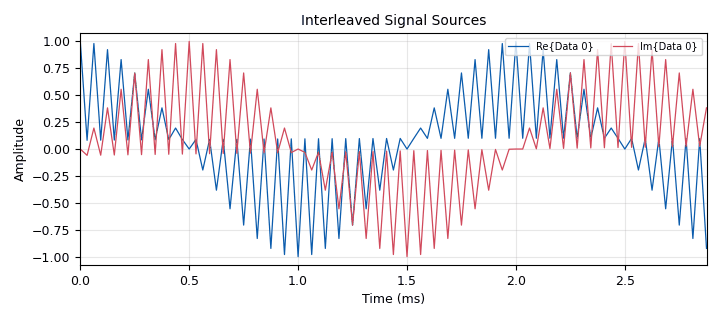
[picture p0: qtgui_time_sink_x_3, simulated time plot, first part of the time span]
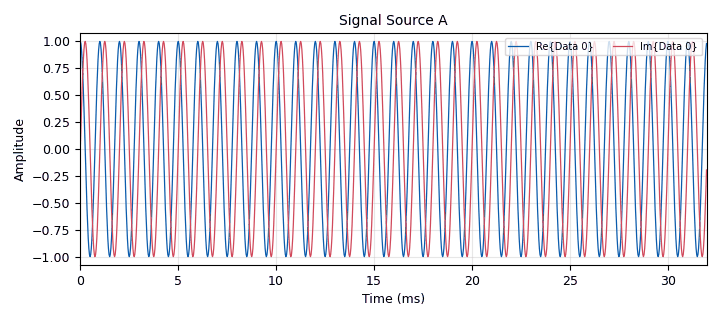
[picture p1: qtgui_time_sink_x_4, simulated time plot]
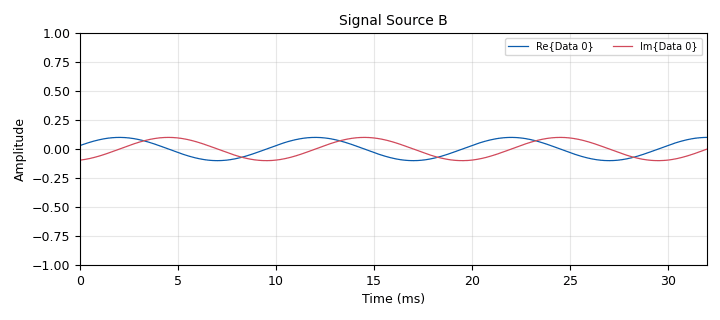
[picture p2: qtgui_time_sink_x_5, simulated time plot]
options:
  parameters:
    generate_options: qt_gui
    id: SimpleStream
    output_language: python
    title: Stream
  states: {}

blocks:
- name: samp_rate
  id: variable
  parameters:
    value: '32000'
  states: {}
- name: analog_random_source_x_0
  id: analog_random_source_x
  parameters:
    max: '2'
    min: '0'
    num_samps: '1000'
    repeat: 'True'
    type: byte
  states: {state: disabled}
- name: analog_sig_source_x_0
  id: analog_sig_source_x
  parameters:
    amp: '1'
    freq: '1000'
    offset: '0'
    phase: '0'
    samp_rate: samp_rate
    type: complex
    waveform: analog.GR_COS_WAVE
  states: {}
- name: analog_sig_source_x_0_0
  id: analog_sig_source_x
  parameters:
    amp: '0.1'
    freq: '100'
    offset: '0'
    phase: '0'
    samp_rate: samp_rate
    type: complex
    waveform: analog.GR_COS_WAVE
  states: {}
- name: analog_sig_source_x_1
  id: analog_sig_source_x
  parameters:
    amp: '1'
    freq: '1000'
    offset: '0'
    phase: '0'
    samp_rate: samp_rate
    type: float
    waveform: analog.GR_COS_WAVE
  states: {state: disabled}
- name: analog_sig_source_x_1_0
  id: analog_sig_source_x
  parameters:
    amp: '1'
    freq: '1000'
    offset: '0'
    phase: '0'
    samp_rate: samp_rate
    type: byte
    waveform: analog.GR_COS_WAVE
  states: {state: disabled}
- name: blocks_null_sink_0
  id: blocks_null_sink
  parameters:
    type: complex
    vlen: '128'
  states: {state: disabled}
- name: blocks_null_sink_1
  id: blocks_null_sink
  parameters:
    type: complex
    vlen: '2'
  states: {state: disabled}
- name: blocks_null_sink_2
  id: blocks_null_sink
  parameters:
    type: float
    vlen: '2'
  states: {state: disabled}
- name: blocks_null_sink_2_0
  id: blocks_null_sink
  parameters:
    type: byte
    vlen: '2'
  states: {state: disabled}
- name: blocks_stream_to_vector_0
  id: blocks_stream_to_vector
  parameters:
    type: complex
  states: {state: disabled}
- name: blocks_stream_to_vector_1
  id: blocks_stream_to_vector
  parameters:
    type: float
  states: {state: disabled}
- name: blocks_stream_to_vector_1_0
  id: blocks_stream_to_vector
  parameters:
    type: byte
  states: {state: disabled}
- name: blocks_stream_to_vector_2
  id: blocks_stream_to_vector
  parameters:
    type: complex
  states: {state: disabled}
- name: blocks_streams_to_vector_0
  id: blocks_streams_to_vector
  parameters:
    type: complex
  states: {}
- name: blocks_throttle_0
  id: blocks_throttle
  parameters:
    samples_per_second: samp_rate
    type: complex
  states: {state: disabled}
- name: blocks_vector_to_stream_0
  id: blocks_vector_to_stream
  parameters:
    type: complex
  states: {}
- name: blocks_vector_to_streams_0
  id: blocks_vector_to_streams
  parameters:
    type: complex
  states: {}
- name: qtgui_time_sink_x_0
  id: qtgui_time_sink_x
  parameters:
    size: '1024'
    srate: samp_rate
    type: complex
  states: {state: disabled}
- name: qtgui_time_sink_x_1
  id: qtgui_time_sink_x
  parameters:
    name: '"Signal Source A"'
    size: '1024'
    srate: samp_rate
    type: complex
  states: {state: disabled}
- name: qtgui_time_sink_x_2
  id: qtgui_time_sink_x
  parameters:
    name: '"Signal Source B"'
    size: '1024'
    srate: samp_rate
    type: complex
  states: {state: disabled}
- name: qtgui_time_sink_x_3
  id: qtgui_time_sink_x
  parameters:
    name: '"Interleaved Signal Sources"'
    size: '1024'
    srate: samp_rate
    type: complex
  states: {}
- name: qtgui_time_sink_x_4
  id: qtgui_time_sink_x
  parameters:
    name: '"Signal Source A"'
    size: '1024'
    srate: samp_rate
    type: complex
  states: {}
- name: qtgui_time_sink_x_5
  id: qtgui_time_sink_x
  parameters:
    name: '"Signal Source B"'
    size: '1024'
    srate: samp_rate
    type: complex
  states: {}

connections:
- [analog_random_source_x_0, '0', blocks_stream_to_vector_1_0, '0']
- [analog_sig_source_x_0, '0', blocks_stream_to_vector_0, '0']
- [analog_sig_source_x_0, '0', blocks_stream_to_vector_2, '0']
- [analog_sig_source_x_0, '0', blocks_streams_to_vector_0, '0']
- [analog_sig_source_x_0, '0', blocks_throttle_0, '0']
- [analog_sig_source_x_0, '0', qtgui_time_sink_x_1, '0']
- [analog_sig_source_x_0_0, '0', blocks_stream_to_vector_2, '0']
- [analog_sig_source_x_0_0, '0', blocks_streams_to_vector_0, '1']
- [analog_sig_source_x_0_0, '0', qtgui_time_sink_x_2, '0']
- [analog_sig_source_x_1, '0', blocks_stream_to_vector_1, '0']
- [analog_sig_source_x_1_0, '0', blocks_stream_to_vector_1_0, '0']
- [blocks_stream_to_vector_0, '0', blocks_null_sink_0, '0']
- [blocks_stream_to_vector_0, '0', blocks_null_sink_1, '0']
- [blocks_stream_to_vector_1, '0', blocks_null_sink_2, '0']
- [blocks_stream_to_vector_1_0, '0', blocks_null_sink_2_0, '0']
- [blocks_stream_to_vector_2, '0', blocks_vector_to_stream_0, '0']
- [blocks_streams_to_vector_0, '0', blocks_vector_to_stream_0, '0']
- [blocks_streams_to_vector_0, '0', blocks_vector_to_streams_0, '0']
- [blocks_throttle_0, '0', qtgui_time_sink_x_0, '0']
- [blocks_vector_to_stream_0, '0', qtgui_time_sink_x_3, '0']
- [blocks_vector_to_streams_0, '0', qtgui_time_sink_x_4, '0']
- [blocks_vector_to_streams_0, '1', qtgui_time_sink_x_5, '0']

metadata:
  file_format: 1
